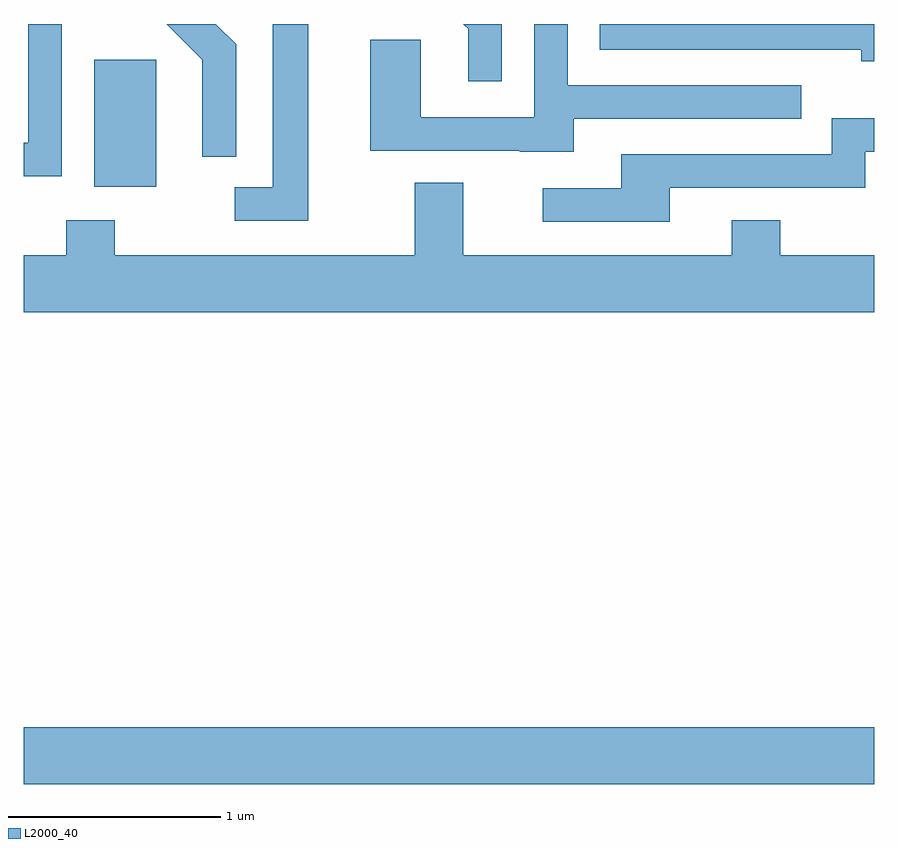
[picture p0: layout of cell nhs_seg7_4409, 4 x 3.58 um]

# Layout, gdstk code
import gdstk
lib = gdstk.Library(unit=1e-6, precision=1e-09)
def R(c, l, rs):  # rectangles x0, y0, x1, y1
    for r in rs: c.add(gdstk.rectangle(r[:2], r[2:], *l))
def P(c, l, *ps):  # polygons
    for p in ps: c.add(gdstk.Polygon(p, *l))
L2000_40 = (2000, 40)

nhs_seg7_4409 = lib.new_cell('nhs_seg7_4409')
R(nhs_seg7_4409, L2000_40, [(319.611,1798.676,323.611,1798.944), (319.941,1801.486,320.234,1802.084)])
P(nhs_seg7_4409, L2000_40, [(320.949,1802.252),(320.781,1802.252),(320.781,1801.484),(320.603,1801.484),(320.603,1801.326),(320.949,1801.326)],
  [(321.859,1802.252),(321.678,1802.252),(321.701,1802.229),(321.701,1801.983),(321.859,1801.983)],
  [(319.789,1802.252),(319.631,1802.252),(319.631,1801.694),(319.611,1801.694),(319.611,1801.536),(319.789,1801.536)],
  [(320.609,1802.157),(320.514,1802.252),(320.283,1802.252),(320.451,1802.084),(320.451,1801.628),(320.609,1801.628)],
  [(323.611,1802.252),(322.321,1802.252),(322.321,1802.131),(323.551,1802.131),(323.551,1802.076),(323.611,1802.076)],
  [(322.199,1801.806),(323.268,1801.806),(323.268,1801.964),(322.169,1801.964),(322.169,1802.252),(322.011,1802.252),(322.011,1801.814),(321.479,1801.814),(321.479,1802.179),(321.241,1802.179),(321.241,1801.656),(321.945,1801.656),(321.945,1801.651),(322.199,1801.651)],
  [(322.649,1801.481),(323.569,1801.481),(323.569,1801.651),(323.611,1801.651),(323.611,1801.809),(323.411,1801.809),(323.411,1801.639),(322.421,1801.639),(322.421,1801.479),(322.053,1801.479),(322.053,1801.321),(322.649,1801.321)],
  [(323.611,1801.164),(323.169,1801.164),(323.169,1801.329),(322.941,1801.329),(322.941,1801.164),(321.679,1801.164),(321.679,1801.504),(321.451,1801.504),(321.451,1801.164),(320.039,1801.164),(320.039,1801.329),(319.811,1801.329),(319.811,1801.164),(319.611,1801.164),(319.611,1800.896),(323.611,1800.896)])

lib.write_gds('nhs_seg7_4409.gds')
